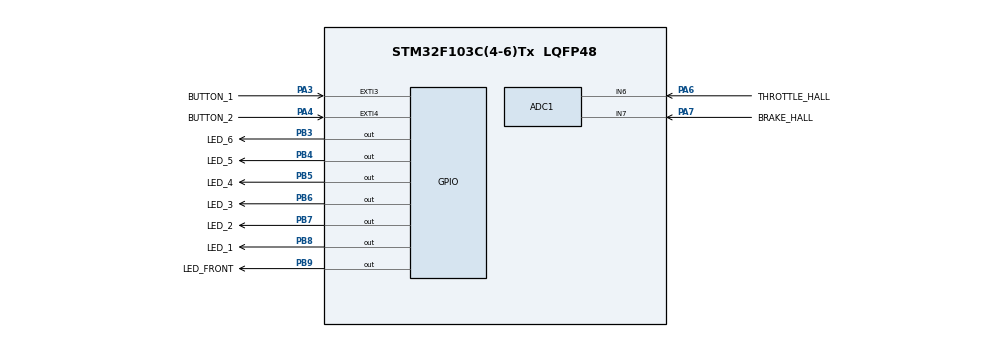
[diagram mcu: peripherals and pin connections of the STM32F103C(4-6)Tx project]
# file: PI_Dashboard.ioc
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ADC1.Channel-0\#ChannelRegularConversion=ADC_CHANNEL_6
ADC1.Channel-1\#ChannelRegularConversion=ADC_CHANNEL_7
ADC1.ContinuousConvMode=ENABLE
ADC1.NbrOfConversion=2
ADC1.NbrOfConversionFlag=1
ADC1.Rank-0\#ChannelRegularConversion=1
ADC1.Rank-1\#ChannelRegularConversion=2
ADC1.SamplingTime-0\#ChannelRegularConversion=ADC_SAMPLETIME_1CYCLE_5
ADC1.SamplingTime-1\#ChannelRegularConversion=ADC_SAMPLETIME_1CYCLE_5
ADC1.master=1
Dma.ADC1.0.Direction=DMA_PERIPH_TO_MEMORY
Dma.ADC1.0.Instance=DMA1_Channel1
Dma.ADC1.0.MemDataAlignment=DMA_MDATAALIGN_HALFWORD
Dma.ADC1.0.MemInc=DMA_MINC_ENABLE
Dma.ADC1.0.Mode=DMA_CIRCULAR
Dma.ADC1.0.PeriphDataAlignment=DMA_PDATAALIGN_HALFWORD
Dma.ADC1.0.PeriphInc=DMA_PINC_DISABLE
Dma.ADC1.0.Priority=DMA_PRIORITY_LOW
Dma.Request0=ADC1
Mcu.Family=STM32F1
Mcu.Name=STM32F103C(4-6)Tx
Mcu.Package=LQFP48
NVIC.DMA1_Channel1_IRQn=true\:0\:0\:false\:false\:true\:false\:true
NVIC.EXTI3_IRQn=true\:0\:0\:false\:false\:true\:true\:true
NVIC.EXTI4_IRQn=true\:0\:0\:false\:false\:true\:true\:true
NVIC.PriorityGroup=NVIC_PRIORITYGROUP_4
PA13.Mode=Serial_Wire
PA13.Signal=SYS_JTMS-SWDIO
PA14.Mode=Serial_Wire
PA14.Signal=SYS_JTCK-SWCLK
PA3.GPIO_Label=BUTTON_1
PA3.Signal=GPXTI3
PA4.GPIO_Label=BUTTON_2
PA4.Signal=GPXTI4
PA6.GPIO_Label=THROTTLE_HALL
PA6.Signal=ADCx_IN6
PA7.GPIO_Label=BRAKE_HALL
PA7.Signal=ADCx_IN7
PB3.GPIO_Label=LED_6
PB3.Signal=GPIO_Output
PB4.GPIO_Label=LED_5
PB4.Signal=GPIO_Output
PB5.GPIO_Label=LED_4
PB5.Signal=GPIO_Output
PB6.GPIO_Label=LED_3
PB6.Signal=GPIO_Output
PB7.GPIO_Label=LED_2
PB7.Signal=GPIO_Output
PB8.GPIO_Label=LED_1
PB8.Signal=GPIO_Output
PB9.GPIO_Label=LED_FRONT
PB9.Signal=GPIO_Output
ProjectManager.HeapSize=0x200
ProjectManager.StackSize=0x400
ProjectManager.TargetToolchain=STM32CubeIDE
RCC.APB1Freq_Value=8000000
RCC.APB2Freq_Value=8000000
SH.ADCx_IN6.0=ADC1_IN6,IN6
SH.ADCx_IN7.0=ADC1_IN7,IN7
board=custom

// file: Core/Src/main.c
/* USER CODE BEGIN Header */
/**
 ******************************************************************************
 * @file           : main.c
 * @brief          : Main program body
 ******************************************************************************
 * @attention
 *
 * <h2><center>&copy; Copyright (c) 2020 STMicroelectronics.
 * All rights reserved.</center></h2>
 *
 * This software component is licensed by ST under BSD 3-Clause license,
 * the "License"; You may not use this file except in compliance with the
 * License. You may obtain a copy of the License at:
 *                        opensource.org/licenses/BSD-3-Clause
 *
 ******************************************************************************
 */
/* USER CODE END Header */

#include "main.h"

ADC_HandleTypeDef hadc1;
DMA_HandleTypeDef hdma_adc1;

/* USER CODE BEGIN PV */
uint16_t a = 1;
uint16_t Sensors[2];
/* USER CODE END PV */

void SystemClock_Config(void);
static void MX_GPIO_Init(void);
static void MX_DMA_Init(void);
static void MX_ADC1_Init(void);
/* USER CODE BEGIN PFP */

void HAL_GPIO_EXTI_Callback(uint16_t GPIO_Pin) {
	//  left button
	if (GPIO_Pin == BUTTON_1_Pin) {
		HAL_GPIO_TogglePin(LED_FRONT_GPIO_Port, LED_FRONT_Pin);
	}

}

/* USER CODE END PFP */

int main(void)
{

  /* MCU Configuration--------------------------------------------------------*/

  /* Reset of all peripherals, Initializes the Flash interface and the Systick. */
  HAL_Init();

  /* Configure the system clock */
  SystemClock_Config();

  /* Initialize all configured peripherals */
  MX_GPIO_Init();
  MX_DMA_Init();
  MX_ADC1_Init();
  /* USER CODE BEGIN 2 */
  HAL_ADC_Start_DMA(&hadc1, Sensors, 2);
  /* USER CODE END 2 */

  /* Infinite loop */
  /* USER CODE BEGIN WHILE */
	while (1) {
		HAL_GPIO_WritePin(LED_1_GPIO_Port, LED_1_Pin, 1);
		HAL_Delay(50);
		HAL_GPIO_WritePin(LED_1_GPIO_Port, LED_1_Pin, 0);
		HAL_GPIO_WritePin(LED_2_GPIO_Port, LED_2_Pin, 1);
		HAL_Delay(50);
		HAL_GPIO_WritePin(LED_2_GPIO_Port, LED_2_Pin, 0);
		HAL_GPIO_WritePin(LED_3_GPIO_Port, LED_3_Pin, 1);
		HAL_Delay(50);
		HAL_GPIO_WritePin(LED_3_GPIO_Port, LED_3_Pin, 0);
		HAL_GPIO_WritePin(LED_4_GPIO_Port, LED_4_Pin, 1);
		HAL_Delay(50);
		HAL_GPIO_WritePin(LED_4_GPIO_Port, LED_4_Pin, 0);
		HAL_GPIO_WritePin(LED_5_GPIO_Port, LED_5_Pin, 1);
		HAL_Delay(50);
		HAL_GPIO_WritePin(LED_5_GPIO_Port, LED_5_Pin, 0);
		HAL_GPIO_WritePin(LED_6_GPIO_Port, LED_6_Pin, 1);
		HAL_Delay(50);
		HAL_GPIO_WritePin(LED_6_GPIO_Port, LED_6_Pin, 0);
		HAL_Delay(50);

    /* USER CODE END WHILE */

	}
}

void SystemClock_Config(void)
{
  RCC_OscInitTypeDef RCC_OscInitStruct = {0};
  RCC_ClkInitTypeDef RCC_ClkInitStruct = {0};
  RCC_PeriphCLKInitTypeDef PeriphClkInit = {0};

  /** Initializes the CPU, AHB and APB busses clocks
  */
  RCC_OscInitStruct.OscillatorType = RCC_OSCILLATORTYPE_HSI;
  RCC_OscInitStruct.HSIState = RCC_HSI_ON;
  RCC_OscInitStruct.HSICalibrationValue = RCC_HSICALIBRATION_DEFAULT;
  RCC_OscInitStruct.PLL.PLLState = RCC_PLL_NONE;
  if (HAL_RCC_OscConfig(&RCC_OscInitStruct) != HAL_OK)
  {
    Error_Handler();
  }
  /** Initializes the CPU, AHB and APB busses clocks
  */
  RCC_ClkInitStruct.ClockType = RCC_CLOCKTYPE_HCLK|RCC_CLOCKTYPE_SYSCLK
                              |RCC_CLOCKTYPE_PCLK1|RCC_CLOCKTYPE_PCLK2;
  RCC_ClkInitStruct.SYSCLKSource = RCC_SYSCLKSOURCE_HSI;
  RCC_ClkInitStruct.AHBCLKDivider = RCC_SYSCLK_DIV1;
  RCC_ClkInitStruct.APB1CLKDivider = RCC_HCLK_DIV1;
  RCC_ClkInitStruct.APB2CLKDivider = RCC_HCLK_DIV1;

  if (HAL_RCC_ClockConfig(&RCC_ClkInitStruct, FLASH_LATENCY_0) != HAL_OK)
  {
    Error_Handler();
  }
  PeriphClkInit.PeriphClockSelection = RCC_PERIPHCLK_ADC;
  PeriphClkInit.AdcClockSelection = RCC_ADCPCLK2_DIV2;
  if (HAL_RCCEx_PeriphCLKConfig(&PeriphClkInit) != HAL_OK)
  {
    Error_Handler();
  }
}

static void MX_ADC1_Init(void)
{

  ADC_ChannelConfTypeDef sConfig = {0};

  /** Common config
  */
  hadc1.Instance = ADC1;
  hadc1.Init.ScanConvMode = ADC_SCAN_ENABLE;
  hadc1.Init.ContinuousConvMode = ENABLE;
  hadc1.Init.DiscontinuousConvMode = DISABLE;
  hadc1.Init.ExternalTrigConv = ADC_SOFTWARE_START;
  hadc1.Init.DataAlign = ADC_DATAALIGN_RIGHT;
  hadc1.Init.NbrOfConversion = 2;
  if (HAL_ADC_Init(&hadc1) != HAL_OK)
  {
    Error_Handler();
  }
  /** Configure Regular Channel
  */
  sConfig.Channel = ADC_CHANNEL_6;
  sConfig.Rank = ADC_REGULAR_RANK_1;
  sConfig.SamplingTime = ADC_SAMPLETIME_1CYCLE_5;
  if (HAL_ADC_ConfigChannel(&hadc1, &sConfig) != HAL_OK)
  {
    Error_Handler();
  }
  /** Configure Regular Channel
  */
  sConfig.Channel = ADC_CHANNEL_7;
  sConfig.Rank = ADC_REGULAR_RANK_2;
  if (HAL_ADC_ConfigChannel(&hadc1, &sConfig) != HAL_OK)
  {
    Error_Handler();
  }

}

static void MX_DMA_Init(void)
{

  /* DMA controller clock enable */
  __HAL_RCC_DMA1_CLK_ENABLE();

  /* DMA interrupt init */
  /* DMA1_Channel1_IRQn interrupt configuration */
  HAL_NVIC_SetPriority(DMA1_Channel1_IRQn, 0, 0);
  HAL_NVIC_EnableIRQ(DMA1_Channel1_IRQn);

}

static void MX_GPIO_Init(void)
{
  GPIO_InitTypeDef GPIO_InitStruct = {0};

  /* GPIO Ports Clock Enable */
  __HAL_RCC_GPIOA_CLK_ENABLE();
  __HAL_RCC_GPIOB_CLK_ENABLE();

  /*Configure GPIO pin Output Level */
  HAL_GPIO_WritePin(GPIOB, LED_6_Pin|LED_5_Pin|LED_4_Pin|LED_3_Pin
                          |LED_2_Pin|LED_1_Pin|LED_FRONT_Pin, GPIO_PIN_RESET);

  /*Configure GPIO pins : BUTTON_1_Pin BUTTON_2_Pin */
  GPIO_InitStruct.Pin = BUTTON_1_Pin|BUTTON_2_Pin;
  GPIO_InitStruct.Mode = GPIO_MODE_IT_RISING;
  GPIO_InitStruct.Pull = GPIO_NOPULL;
  HAL_GPIO_Init(GPIOA, &GPIO_InitStruct);

  /*Configure GPIO pins : LED_6_Pin LED_5_Pin LED_4_Pin LED_3_Pin
                           LED_2_Pin LED_1_Pin LED_FRONT_Pin */
  GPIO_InitStruct.Pin = LED_6_Pin|LED_5_Pin|LED_4_Pin|LED_3_Pin
                          |LED_2_Pin|LED_1_Pin|LED_FRONT_Pin;
  GPIO_InitStruct.Mode = GPIO_MODE_OUTPUT_PP;
  GPIO_InitStruct.Pull = GPIO_NOPULL;
  GPIO_InitStruct.Speed = GPIO_SPEED_FREQ_LOW;
  HAL_GPIO_Init(GPIOB, &GPIO_InitStruct);

  /* EXTI interrupt init*/
  HAL_NVIC_SetPriority(EXTI3_IRQn, 0, 0);
  HAL_NVIC_EnableIRQ(EXTI3_IRQn);

  HAL_NVIC_SetPriority(EXTI4_IRQn, 0, 0);
  HAL_NVIC_EnableIRQ(EXTI4_IRQn);

}

void Error_Handler(void)
{
}

/************************ (C) COPYRIGHT STMicroelectronics *****END OF FILE****/
